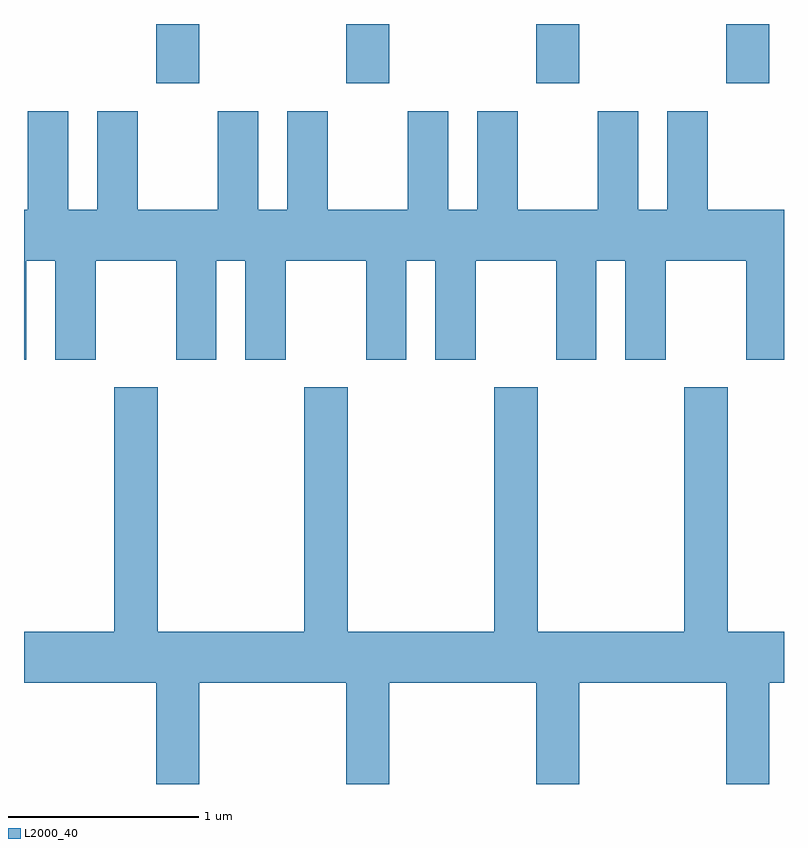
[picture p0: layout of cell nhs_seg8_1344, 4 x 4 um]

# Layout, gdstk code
import gdstk
lib = gdstk.Library(unit=1e-6, precision=1e-09)
def R(c, l, rs):  # rectangles x0, y0, x1, y1
    for r in rs: c.add(gdstk.rectangle(r[:2], r[2:], *l))
def A(c, l, x, y, w, h, nx, ny, dx, dy):  # array of equal rectangles
    R(c, l, [(x+i*dx, y+j*dy, x+i*dx+w, y+j*dy+h) for i in range(nx) for j in range(ny)])
def P(c, l, *ps):  # polygons
    for p in ps: c.add(gdstk.Polygon(p, *l))
L2000_40 = (2000, 40)

nhs_seg8_1344 = lib.new_cell('nhs_seg8_1344')
A(nhs_seg8_1344, L2000_40, 226.306, 1824.031, 0.228, 0.311, 4, 1, 1, 0)
P(nhs_seg8_1344, L2000_40, [(225.844,1823.884),(225.631,1823.884),(225.631,1823.364),(225.611,1823.364),(225.611,1822.576),(225.624,1822.576),(225.624,1823.096),(225.776,1823.096),(225.776,1822.576),(225.989,1822.576),(225.989,1823.096),(226.411,1823.096),(226.411,1822.576),(226.624,1822.576),(226.624,1823.096),(226.776,1823.096),(226.776,1822.576),(226.989,1822.576),(226.989,1823.096),(227.411,1823.096),(227.411,1822.576),(227.624,1822.576),(227.624,1823.096),(227.776,1823.096),(227.776,1822.576),(227.989,1822.576),(227.989,1823.096),(228.411,1823.096),(228.411,1822.576),(228.624,1822.576),(228.624,1823.096),(228.776,1823.096),(228.776,1822.576),(228.989,1822.576),(228.989,1823.096),(229.411,1823.096),(229.411,1822.576),(229.611,1822.576),(229.611,1823.364),(229.209,1823.364),(229.209,1823.884),(228.996,1823.884),(228.996,1823.364),(228.844,1823.364),(228.844,1823.884),(228.631,1823.884),(228.631,1823.364),(228.209,1823.364),(228.209,1823.884),(227.996,1823.884),(227.996,1823.364),(227.844,1823.364),(227.844,1823.884),(227.631,1823.884),(227.631,1823.364),(227.209,1823.364),(227.209,1823.884),(226.996,1823.884),(226.996,1823.364),(226.844,1823.364),(226.844,1823.884),(226.631,1823.884),(226.631,1823.364),(226.209,1823.364),(226.209,1823.884),(225.996,1823.884),(225.996,1823.364),(225.844,1823.364)],
  [(226.534,1820.876),(227.306,1820.876),(227.306,1820.342),(227.534,1820.342),(227.534,1820.876),(228.306,1820.876),(228.306,1820.342),(228.534,1820.342),(228.534,1820.876),(229.306,1820.876),(229.306,1820.342),(229.534,1820.342),(229.534,1820.876),(229.611,1820.876),(229.611,1821.144),(229.314,1821.144),(229.314,1822.429),(229.086,1822.429),(229.086,1821.144),(228.314,1821.144),(228.314,1822.429),(228.086,1822.429),(228.086,1821.144),(227.314,1821.144),(227.314,1822.429),(227.086,1822.429),(227.086,1821.144),(226.314,1821.144),(226.314,1822.429),(226.086,1822.429),(226.086,1821.144),(225.611,1821.144),(225.611,1820.876),(226.306,1820.876),(226.306,1820.342),(226.534,1820.342)])

lib.write_gds('nhs_seg8_1344.gds')
